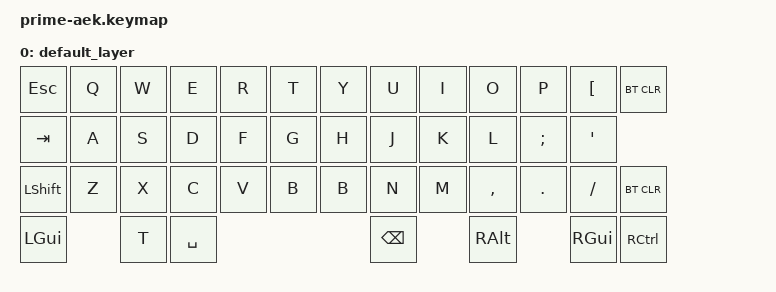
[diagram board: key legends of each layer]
#include <behaviors.dtsi>
#include <dt-bindings/zmk/keys.h>
#include <dt-bindings/zmk/bt.h>

/ {
    keymap {
        compatible = "zmk,keymap";

        default_layer {
// --------------------------------------------------------------------------------------------------------------------------------------------------------------------
// |   ESC   |    Q    |    W    |    E    |    R    |    T    |     |    Y    |    U    |    I    |    O    |    P    |    [    |   Del   |
// |   TAB   |    A    |    S    |    D    |    F    |    G    |     |    H    |    J    |    K    |    L    |    ;    |       Enter       |
// | L SHIFT |    Z    |    X    |    C    |    V    |    B    |     |    b    |    N    |    M    |    ,    |    .    |    /    | R SHIFT |
// |   CMD   |                   |   CTRL  |       SPACE       |     |    FN   |   ALT   |                             |   CMD   |  R CTRL |
            bindings = <
    &kp ESC   &kp Q     &kp W    &kp E     &kp R     &kp T            &kp Y     &kp U     &kp I     &kp O     &kp P    &kp LBKT  &bt BT_CLR
    &kp TAB   &kp A     &kp S    &kp D     &kp F     &kp G            &kp H     &kp J     &kp K     &kp L     &kp SEMI &kp SQT
    &kp LSHFT &kp Z     &kp X    &kp C     &kp V     &kp B            &kp B     &kp N     &kp M     &kp COMMA &kp DOT  &kp FSLH  &bt BT_CLR
    &kp LGUI            &kp T    &kp SPACE                                      &kp BSPC            &kp RALT           &kp RGUI  &kp RCTRL
            >;
        };
    };
};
